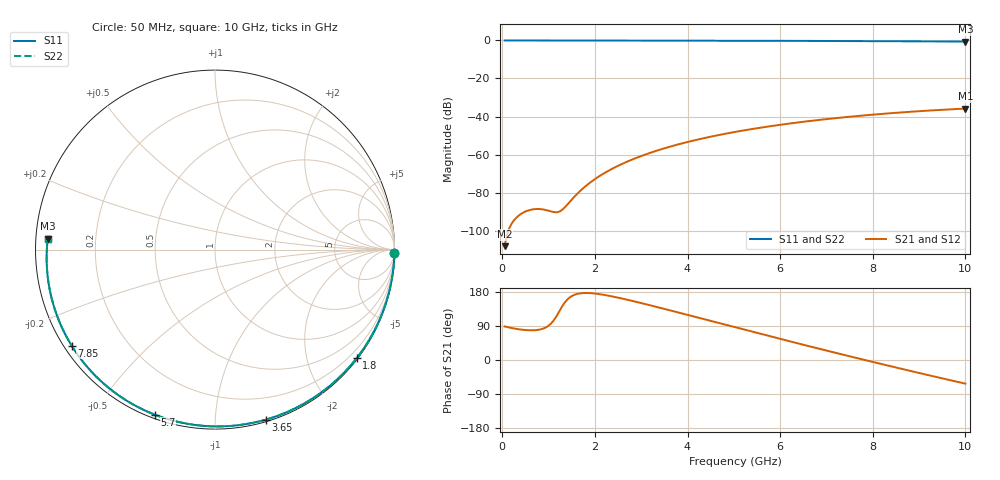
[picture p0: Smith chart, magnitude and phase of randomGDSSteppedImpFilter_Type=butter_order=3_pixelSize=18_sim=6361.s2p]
! freq	dB(S11)	phase(S11)	dB(S12)	phase(S12)
!  dB(S21)	phase(S21)	dB(S22)	phase(S22)
!S-par simulation data
#  GHz  S  DB  R 50
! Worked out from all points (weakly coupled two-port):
!   200 points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, 50 MHz to 10 GHz, reference 50 ohm
!   highest |S21| = -35.82 dB at 10 GHz (marker M1); lowest = -108.2 dB at 50 MHz (marker M2)
!   lowest |S11| = -0.6 dB at 10 GHz (marker M3), VSWR 29.24, Z = 1.71 + j1.64 ohm
!   |S11| at or under -10 dB: nowhere
!   |S22| runs from -0.6 to 0.0 dB; largest |S21 - S12| = 0
!   S11 on the Smith chart (normalised r, x): 50 MHz: open; 1.8 GHz: 0.03, -2.96; 3.65 GHz: 0.02, -1.34; 5.7 GHz: 0.02, -0.70; 7.85 GHz: 0.02, -0.30; 10 GHz: 0.03, +0.03
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0.05  -0.00 -1.1  -108.16 88.5  -108.16 88.5  -0.00 -1.1
0.4  -0.01 -8.5  -91.26 80.4  -91.26 80.4  -0.01 -8.5
0.8  -0.02 -16.8  -88.63 80.1  -88.63 80.1  -0.02 -16.8
1.6  -0.04 -33.3  -81.08 173.8  -81.08 173.8  -0.04 -33.3
1.65  -0.04 -34.3  -79.86 175.2  -79.86 175.2  -0.04 -34.3
1.75  -0.05 -36.4  -77.62 176.7  -77.62 176.7  -0.05 -36.4
1.8  -0.05 -37.4  -76.58 176.8  -76.58 176.8  -0.05 -37.4
2.1  -0.06 -43.4  -71.28 173.7  -71.28 173.7  -0.06 -43.4
2.45  -0.06 -50.4  -66.50 165.8  -66.50 165.8  -0.06 -50.4
2.9  -0.08 -59.2  -61.68 153.2  -61.68 153.2  -0.08 -59.2
3.4  -0.09 -68.7  -57.45 138.0  -57.45 138.0  -0.09 -68.7
3.65  -0.10 -73.4  -55.64 130.1  -55.64 130.1  -0.10 -73.4
4.35  -0.12 -86.3  -51.38 107.8  -51.38 107.8  -0.12 -86.3
5.05  -0.15 -98.7  -47.99 85.5  -47.99 85.5  -0.15 -98.7
5.7  -0.18 -110.0  -45.40 65.0  -45.40 65.0  -0.18 -110.0
6.2  -0.21 -118.5  -43.69 49.4  -43.69 49.4  -0.21 -118.5
6.7  -0.25 -126.9  -42.18 34.0  -42.18 34.0  -0.25 -126.9
7.3  -0.29 -137.0  -40.59 15.8  -40.59 15.8  -0.29 -137.0
7.85  -0.34 -146.2  -39.33 -0.7  -39.33 -0.7  -0.34 -146.2
8.35  -0.39 -154.6  -38.32 -15.4  -38.32 -15.4  -0.39 -154.6
9.2  -0.49 -169.3  -36.88 -40.0  -36.88 -40.0  -0.49 -169.3
10  -0.59 176.2  -35.82 -62.4  -35.82 -62.4  -0.59 176.2
